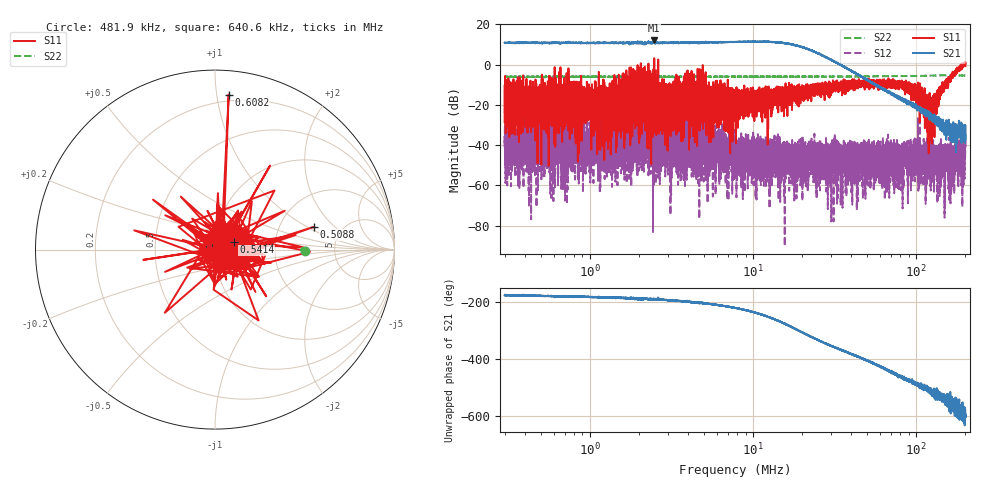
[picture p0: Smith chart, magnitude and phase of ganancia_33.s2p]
# Hz S DB R 50
! CMT, M5065, 19127446, 24.2.4/2
! Date: 11/1/2024 3:32:28 PM
! Data: Format (Calibration Info)
! Freq	S11:dB/Ang(F2)	S21:dB/Ang(F2)	S12:dB/Ang(F2)	S22:dB/Ang(F2)
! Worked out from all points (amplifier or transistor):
!   9000 points, 300 kHz to 200 MHz, reference 50 ohm
!   highest |S21| = 12.0 dB at 2.478 MHz (marker M1)
!   |S21| within 3 dB of that: start of sweep to 19.24 MHz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
!   unconditionally stable (mu >= 1): start of sweep to 1.959 MHz; 2.623 MHz to 4.913 MHz; 4.917 MHz to 189.5 MHz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
!   at 886.8 kHz: K = 7.85, MAG = 12.1 dB, |S12| = -37.3 dB
!   at 7.749 MHz: K = 22.87, MAG = 12.6 dB, |S12| = -47.2 dB
!   at 200 MHz: K = 480.52, MAG = -27.1 dB, |S12| = -42.0 dB
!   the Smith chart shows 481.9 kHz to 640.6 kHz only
!   S11 on the Smith chart (normalised r, x): 481.9 kHz: 1.02, -0.08; 508.8 kHz: 3.13, +1.17; 541.4 kHz: 1.23, +0.10; 608.2 kHz: 0.16, +1.08; 640.6 kHz: 1.03, -0.11
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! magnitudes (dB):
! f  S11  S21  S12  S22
! 300 kHz  -28.6  10.9  -41.2  -6.0
! 309.9 kHz  -11.8  10.8  -39.7  -6.0
! 331.9 kHz  -10.0  10.7  -42.6  -6.0
! 481.9 kHz  -27.8  10.9  -36.0  -6.0
! 508.8 kHz  -4.9  10.4  -46.0  -6.0
! 541.4 kHz  -19.1  10.8  -37.4  -6.1
! 608.2 kHz  -1.2  10.8  -47.2  -6.1
! 640.6 kHz  -24.8  10.9  -37.1  -6.1
! 886.8 kHz  -22.8  10.9  -37.3  -6.1
! 1.114 MHz  -23.4  10.6  -38.5  -6.2
! 1.19 MHz  -19.5  10.8  -34.3  -6.0
! 2.193 MHz  -13.8  10.9  -44.7  -6.1
! 2.478 MHz  3.2  12.0  -35.5  -6.0
! 2.621 MHz  2.5  10.8  -56.3  -6.1
! 4.16 MHz  -20.1  10.9  -34.4  -6.1
! 7.749 MHz  -18.0  11.3  -47.2  -6.0
! 22.91 MHz  -12.4  7.0  -42.6  -6.0
! 67.71 MHz  -8.6  -14.0  -46.0  -5.7
! 96.75 MHz  -13.6  -20.5  -50.6  -5.6
! 122.1 MHz  -21.2  -25.8  -44.1  -5.5
! 149 MHz  -9.2  -31.1  -76.1  -5.3
! 200 MHz  -0.8  -36.5  -42.0  -5.4
